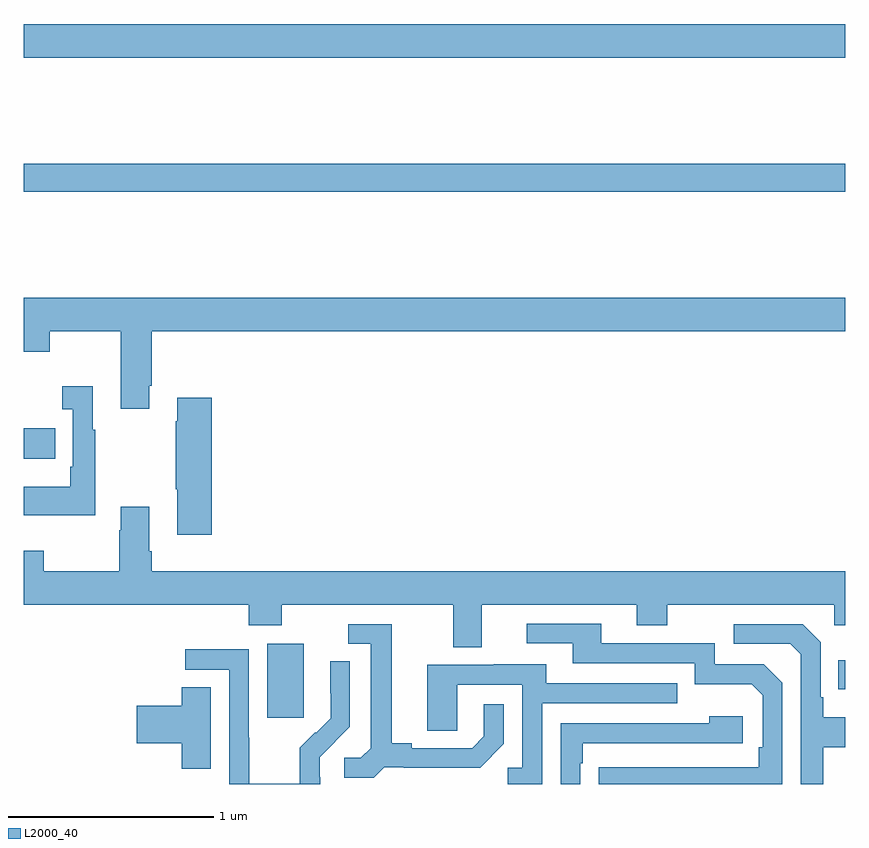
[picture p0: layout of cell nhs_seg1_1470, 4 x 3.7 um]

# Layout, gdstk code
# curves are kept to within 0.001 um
import gdstk
lib = gdstk.Library(unit=1e-6, precision=1e-09)
def R(c, l, rs):  # rectangles x0, y0, x1, y1
    for r in rs: c.add(gdstk.rectangle(r[:2], r[2:], *l))
def P(c, l, *ps):  # polygons
    for p in ps: c.add(gdstk.Polygon(p, *l))
L2000_40 = (2000, 40)

nhs_seg1_1470 = lib.new_cell('nhs_seg1_1470')
R(nhs_seg1_1470, L2000_40, [(192.185,544.521,192.364,544.882), (194.965,544.661,195,544.801), (191,545.783,191.153,545.931), (191,547.084,195,547.22), (191,547.736,195,547.9)])
P(nhs_seg1_1470, L2000_40, [(191.611,546.139),(191.624,546.139),(191.624,546.404),(195,546.404),(195,546.568),(191,546.568),(191,546.305),(191.127,546.305),(191.127,546.404),(191.471,546.404),(191.471,546.027),(191.611,546.027)],
  [(191.347,545.923),(191.335,545.923),(191.335,546.136),(191.187,546.136),(191.187,546.023),(191.238,546.023),(191.238,545.743),(191.226,545.743),(191.226,545.647),(191,545.647),(191,545.507),(191.347,545.507)],
  [(191.915,546.079),(191.747,546.079),(191.747,545.966),(191.74,545.966),(191.74,545.635),(191.747,545.635),(191.747,545.412),(191.915,545.412)],
  [(193.231,545.072),(193.985,545.072),(193.985,544.973),(194.133,544.973),(194.133,545.072),(194.946,545.072),(194.946,544.973),(195,544.973),(195,545.236),(191.624,545.236),(191.624,545.332),(191.611,545.332),(191.611,545.548),(191.471,545.548),(191.471,545.435),(191.464,545.435),(191.464,545.236),(191.097,545.236),(191.097,545.335),(191,545.335),(191,545.072),(192.095,545.072),(192.095,544.973),(192.255,544.973),(192.255,545.072),(193.091,545.072),(193.091,544.864),(193.231,544.864)],
  [(194.694,544.692),(194.604,544.782),(194.364,544.782),(194.364,544.884),(193.813,544.884),(193.813,544.98),(193.449,544.98),(193.449,544.884),(193.673,544.884),(193.673,544.788),(194.268,544.788),(194.268,544.685),(194.545,544.685),(194.598,544.632),(194.598,544.378),(194.578,544.378),(194.578,544.281),(193.801,544.28),(193.801,544.199),(194.694,544.199)],
  [(194.893,544.378),(195,544.378),(195,544.525),(194.893,544.525),(194.893,544.621),(194.88,544.621),(194.88,544.89),(194.793,544.977),(194.457,544.977),(194.457,544.881),(194.733,544.881),(194.784,544.83),(194.784,544.199),(194.893,544.199)],
  [(192.756,544.281),(192.85,544.281),(192.85,544.278),(193.222,544.278),(193.338,544.394),(193.338,544.588),(193.241,544.588),(193.241,544.431),(193.184,544.374),(192.889,544.374),(192.889,544.397),(192.793,544.397),(192.793,544.977),(192.579,544.977),(192.579,544.881),(192.689,544.881),(192.689,544.373),(192.642,544.326),(192.561,544.326),(192.561,544.229),(192.704,544.229)],
  [(192.444,544.233),(192.442,544.233),(192.442,544.33),(192.588,544.478),(192.588,544.796),(192.492,544.796),(192.492,544.642),(192.494,544.642),(192.494,544.52),(192.423,544.449),(192.42,544.452),(192.343,544.375),(192.343,544.201),(192.099,544.201),(192.099,544.424),(192.096,544.424),(192.096,544.854),(191.787,544.854),(191.787,544.755),(192,544.755),(192,544.199),(192.444,544.199)],
  [(193.524,544.593),(194.183,544.593),(194.183,544.689),(193.543,544.689),(193.543,544.783),(193.289,544.783),(193.289,544.779),(192.965,544.779),(192.965,544.459),(193.11,544.459),(193.11,544.683),(193.428,544.683),(193.428,544.278),(193.356,544.278),(193.356,544.199),(193.524,544.199)],
  [(191.911,544.67),(191.768,544.67),(191.768,544.58),(191.55,544.58),(191.55,544.397),(191.768,544.397),(191.768,544.273),(191.911,544.273)],
  [(193.71,544.301),(193.723,544.301),(193.723,544.398),(194.5,544.398),(194.5,544.528),(194.339,544.528),(194.339,544.494),(193.614,544.494),(193.614,544.199),(193.71,544.199)])

lib.write_gds('nhs_seg1_1470.gds')
